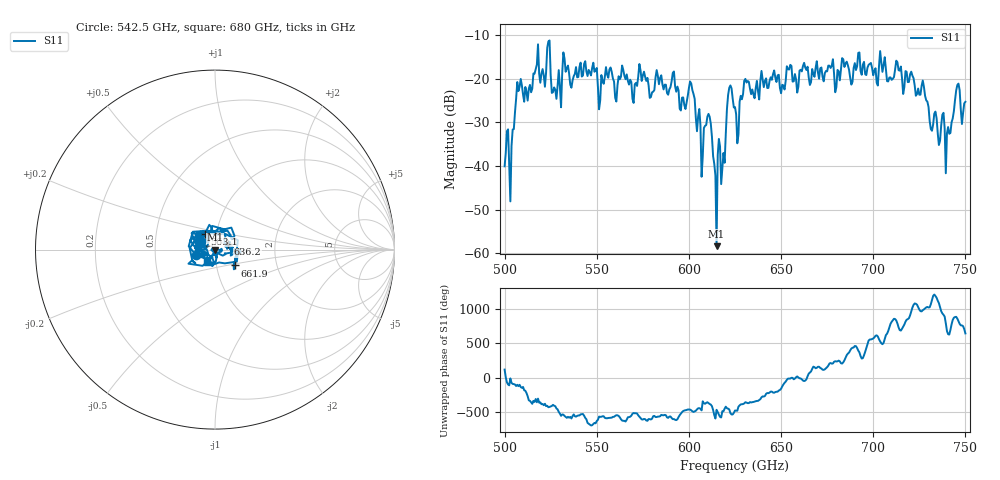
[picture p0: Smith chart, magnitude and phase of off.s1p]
!Created with skrf (http://scikit-rf.org).
# GHz S MA R 50.0
!freq magS11 angS11
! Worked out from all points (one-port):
!   401 points, 500 GHz to 750 GHz, reference 50 ohm
!   lowest |S11| = -58.4 dB at 615 GHz (marker M1), VSWR 1.00, Z = 50 - j0.118 ohm
!   |S11| at or under -10 dB: start of sweep to end of sweep
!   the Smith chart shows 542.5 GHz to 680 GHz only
!   S11 on the Smith chart (normalised r, x): 542.5 GHz: 0.81, -0.05; 563.1 GHz: 0.88, +0.16; 636.2 GHz: 1.15, +0.07; 661.9 GHz: 1.22, -0.22; 680 GHz: 0.91, -0.12
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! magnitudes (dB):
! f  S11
! 500 GHz  -40.1
! 503.8 GHz  -35.5
! 508.1 GHz  -21.8
! 523.8 GHz  -11.4
! 526.9 GHz  -22.0
! 531.2 GHz  -18.7
! 542.5 GHz  -19.3
! 551.9 GHz  -25.0
! 562.5 GHz  -20.1
! 563.1 GHz  -19.5
! 593.8 GHz  -21.8
! 601.9 GHz  -22.6
! 607.5 GHz  -37.9
! 611.2 GHz  -28.7
! 615 GHz  -58.4
! 618.8 GHz  -37.0
! 621.9 GHz  -22.1
! 625 GHz  -26.5
! 631.2 GHz  -20.9
! 636.2 GHz  -22.1
! 656.2 GHz  -20.7
! 661.9 GHz  -17.1
! 680 GHz  -21.9
! 687.5 GHz  -19.8
! 718.8 GHz  -20.8
! 740.6 GHz  -31.1
! 745.6 GHz  -21.4
! 750 GHz  -25.3
